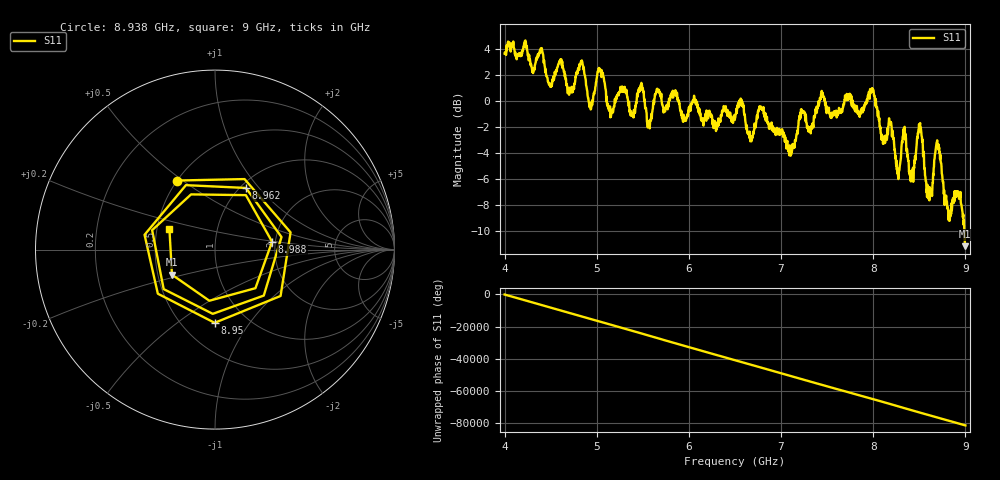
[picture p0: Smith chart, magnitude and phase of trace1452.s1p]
! Created with skrf 1.8.0 (http://scikit-rf.org).
# Hz S RI R 50.0
!freq ReS11 ImS11
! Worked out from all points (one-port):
!   1601 points, 4 GHz to 9 GHz, reference 50 ohm
!   lowest |S11| = -11.1 dB at 8.997 GHz (marker M1), VSWR 1.77, Z = 29.6 - j8.97 ohm
!   |S11| at or under -10 dB: 8.989471 GHz to end of sweep
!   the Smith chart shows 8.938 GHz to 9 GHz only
!   S11 on the Smith chart (normalised r, x): 8.938 GHz: 0.50, +0.48; 8.95 GHz: 0.71, -0.70; 8.962 GHz: 1.06, +0.86; 8.988 GHz: 1.92, +0.19; 9 GHz: 0.58, +0.14
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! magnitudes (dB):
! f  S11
! 4 GHz  3.6
! 4.625 GHz  3.0
! 4.838 GHz  3.1
! 4.931 GHz  -0.6
! 5.031 GHz  2.4
! 5.15 GHz  -0.7
! 5.25 GHz  0.7
! 5.484 GHz  1.4
! 5.569 GHz  -1.7
! 5.875 GHz  0.1
! 6.5 GHz  -1.3
! 7.125 GHz  -3.3
! 7.231 GHz  -0.9
! 7.75 GHz  0.5
! 7.991 GHz  1.0
! 8.262 GHz  -5.6
! 8.375 GHz  -4.1
! 8.419 GHz  -5.7
! 8.509 GHz  -1.7
! 8.603 GHz  -6.6
! 8.697 GHz  -3.4
! 8.822 GHz  -8.8
! 8.938 GHz  -7.2
! 8.95 GHz  -7.8
! 8.962 GHz  -8.3
! 8.988 GHz  -9.9
! 8.997 GHz  -11.1
! 9 GHz  -11.1
